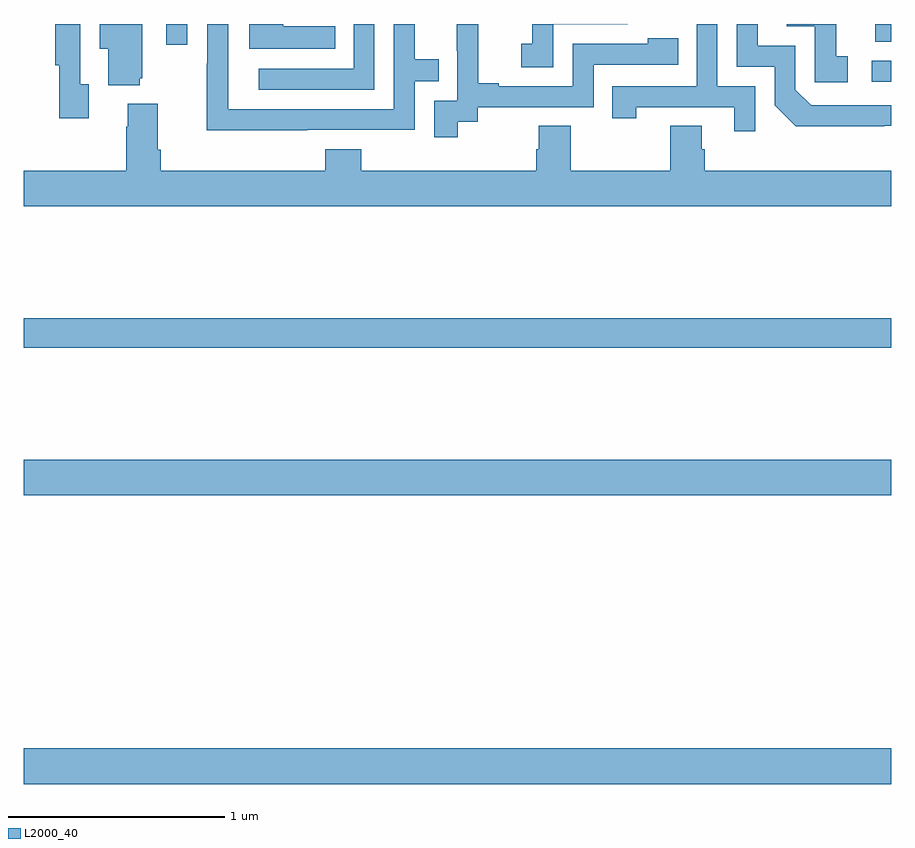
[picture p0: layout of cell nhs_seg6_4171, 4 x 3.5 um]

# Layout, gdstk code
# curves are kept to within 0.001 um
import gdstk
lib = gdstk.Library(unit=1e-6, precision=1e-09)
def R(c, l, rs):  # rectangles x0, y0, x1, y1
    for r in rs: c.add(gdstk.rectangle(r[:2], r[2:], *l))
def P(c, l, *ps):  # polygons
    for p in ps: c.add(gdstk.Polygon(p, *l))
L2000_40 = (2000, 40)

nhs_seg6_4171 = lib.new_cell('nhs_seg6_4171')
R(nhs_seg6_4171, L2000_40, [(357,953.996,361,954.16), (357,955.328,361,955.492), (357,956.008,361,956.144), (360.909,957.234,361,957.33), (357.657,957.405,357.753,957.5), (360.926,957.419,361,957.5)])
P(nhs_seg6_4171, L2000_40, [(359.442,957.498),(359.784,957.498),(359.786,957.5),(359.344,957.5),(359.344,957.409),(359.295,957.409),(359.295,957.3),(359.442,957.3)],
  [(358.436,957.49),(358.197,957.49),(358.197,957.5),(358.04,957.5),(358.04,957.386),(358.436,957.386)],
  [(360.968,957.03),(361,957.03),(361,957.126),(360.63,957.126),(360.558,957.198),(360.558,957.399),(360.385,957.399),(360.385,957.5),(360.288,957.5),(360.288,957.303),(360.462,957.303),(360.462,957.126),(360.56,957.029)],
  [(360.799,957.351),(360.746,957.351),(360.746,957.5),(360.519,957.5),(360.519,957.489),(360.648,957.489),(360.648,957.231),(360.799,957.231)],
  [(358.307,957.012),(358.803,957.012),(358.803,957.237),(358.913,957.237),(358.913,957.338),(358.803,957.338),(358.803,957.5),(358.707,957.5),(358.707,957.108),(357.943,957.108),(357.943,957.362),(357.942,957.362),(357.942,957.5),(357.846,957.5),(357.846,957.317),(357.844,957.317),(357.844,957.011),(358.307,957.011)],
  [(360.372,957.213),(360.198,957.213),(360.198,957.5),(360.102,957.5),(360.102,957.213),(359.713,957.213),(359.713,957.066),(359.824,957.066),(359.824,957.117),(360.275,957.117),(360.275,957.006),(360.372,957.006)],
  [(358.617,957.5),(358.521,957.5),(358.521,957.294),(358.083,957.294),(358.083,957.198),(358.617,957.198)],
  [(357.301,957.222),(357.261,957.222),(357.261,957.5),(357.145,957.5),(357.145,957.31),(357.164,957.31),(357.164,957.066),(357.301,957.066)],
  [(357.536,957.249),(357.547,957.249),(357.547,957.5),(357.35,957.5),(357.35,957.386),(357.389,957.386),(357.389,957.218),(357.536,957.218)],
  [(359.002,957.049),(359.094,957.049),(359.094,957.117),(359.628,957.117),(359.628,957.312),(360.017,957.312),(360.017,957.435),(359.877,957.435),(359.877,957.408),(359.532,957.408),(359.532,957.213),(359.191,957.213),(359.191,957.226),(359.096,957.226),(359.096,957.5),(358.997,957.5),(358.997,957.377),(358.998,957.377),(358.998,957.147),(358.893,957.147),(358.893,956.979),(359.002,956.979)],
  [(361,956.824),(360.14,956.824),(360.14,956.922),(360.127,956.922),(360.127,957.032),(359.98,957.032),(359.98,956.824),(359.523,956.824),(359.523,957.032),(359.375,957.032),(359.375,956.922),(359.363,956.922),(359.363,956.824),(358.556,956.824),(358.556,956.923),(358.391,956.923),(358.391,956.824),(357.632,956.824),(357.632,956.92),(357.619,956.92),(357.619,957.133),(357.479,957.133),(357.479,957.026),(357.472,957.026),(357.472,956.824),(357,956.824),(357,956.66),(361,956.66)])

lib.write_gds('nhs_seg6_4171.gds')
